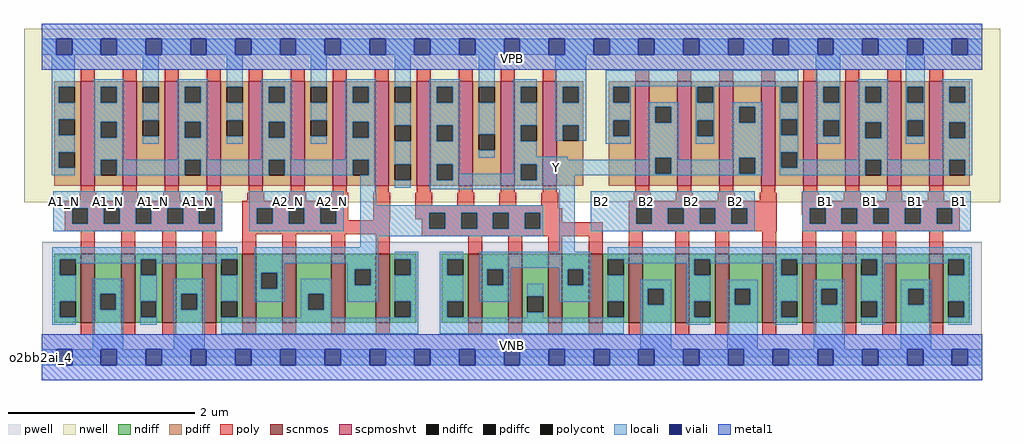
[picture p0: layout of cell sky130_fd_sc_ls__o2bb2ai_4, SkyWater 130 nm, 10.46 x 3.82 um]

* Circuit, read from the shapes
.subckt sky130_fd_sc_ls__o2bb2ai_4 A1_N A2_N B1 B2 VGND VNB VPB VPWR Y
XM1 VGND A1_N n1 VNB sky130_fd_pr__nfet_01v8 w=0.74 l=0.15 m=4
XM2 n2 A2_N n1 VNB sky130_fd_pr__nfet_01v8 w=0.74 l=0.15 m=4
XM3 Y n2 n3 VNB sky130_fd_pr__nfet_01v8 w=0.74 l=0.15 m=4
XM4 VGND B2 n3 VNB sky130_fd_pr__nfet_01v8 w=0.74 l=0.15 m=4
XM5 VGND B1 n3 VNB sky130_fd_pr__nfet_01v8 w=0.74 l=0.15 m=4
XM6 n2 A1_N VPWR VPB sky130_fd_pr__pfet_01v8_hvt w=1.12 l=0.15 m=4
XM7 n2 A2_N VPWR VPB sky130_fd_pr__pfet_01v8_hvt w=1.12 l=0.15 m=4
XM8 Y n2 VPWR VPB sky130_fd_pr__pfet_01v8_hvt w=1.12 l=0.15 m=4
XM9 Y B2 n4 VPB sky130_fd_pr__pfet_01v8_hvt w=1.12 l=0.15 m=4
XM10 VPWR B1 n4 VPB sky130_fd_pr__pfet_01v8_hvt w=1.12 l=0.15 m=4
.ends

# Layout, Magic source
magic
tech sky130A
magscale 1 2
<< nwell >>
rect -38 332 2054 704
<< pwell >>
rect 1 49 2015 248
rect 0 0 2016 49
<< scnmos >>
rect 84 74 114 222
rect 170 74 200 222
rect 258 74 288 222
rect 344 74 374 222
rect 430 74 460 222
rect 516 74 546 222
rect 621 74 651 222
rect 716 74 746 222
rect 914 74 944 222
rect 1000 74 1030 222
rect 1086 74 1116 222
rect 1172 74 1202 222
rect 1258 74 1288 222
rect 1358 74 1388 222
rect 1444 74 1474 222
rect 1544 74 1574 222
rect 1630 74 1660 222
rect 1716 74 1746 222
rect 1802 74 1832 222
rect 1902 74 1932 222
<< scpmoshvt >>
rect 84 368 114 592
rect 174 368 204 592
rect 264 368 294 592
rect 354 368 384 592
rect 444 368 474 592
rect 534 368 564 592
rect 624 368 654 592
rect 714 368 744 592
rect 804 368 834 592
rect 894 368 924 592
rect 984 368 1014 592
rect 1074 368 1104 592
rect 1272 368 1302 592
rect 1362 368 1392 592
rect 1452 368 1482 592
rect 1542 368 1572 592
rect 1632 368 1662 592
rect 1722 368 1752 592
rect 1812 368 1842 592
rect 1902 368 1932 592
<< ndiff >>
rect 27 210 84 222
rect 27 176 39 210
rect 73 176 84 210
rect 27 120 84 176
rect 27 86 39 120
rect 73 86 84 120
rect 27 74 84 86
rect 114 136 170 222
rect 114 102 125 136
rect 159 102 170 136
rect 114 74 170 102
rect 200 210 258 222
rect 200 176 212 210
rect 246 176 258 210
rect 200 120 258 176
rect 200 86 212 120
rect 246 86 258 120
rect 200 74 258 86
rect 288 136 344 222
rect 288 102 299 136
rect 333 102 344 136
rect 288 74 344 102
rect 374 210 430 222
rect 374 176 385 210
rect 419 176 430 210
rect 374 120 430 176
rect 374 86 385 120
rect 419 86 430 120
rect 374 74 430 86
rect 460 181 516 222
rect 460 147 471 181
rect 505 147 516 181
rect 460 74 516 147
rect 546 136 621 222
rect 546 102 571 136
rect 605 102 621 136
rect 546 74 621 102
rect 651 189 716 222
rect 651 155 671 189
rect 705 155 716 189
rect 651 74 716 155
rect 746 210 803 222
rect 746 176 757 210
rect 791 176 803 210
rect 746 120 803 176
rect 746 86 757 120
rect 791 86 803 120
rect 746 74 803 86
rect 857 210 914 222
rect 857 176 869 210
rect 903 176 914 210
rect 857 120 914 176
rect 857 86 869 120
rect 903 86 914 120
rect 857 74 914 86
rect 944 189 1000 222
rect 944 155 955 189
rect 989 155 1000 189
rect 944 74 1000 155
rect 1030 131 1086 222
rect 1030 97 1041 131
rect 1075 97 1086 131
rect 1030 74 1086 97
rect 1116 189 1172 222
rect 1116 155 1127 189
rect 1161 155 1172 189
rect 1116 74 1172 155
rect 1202 210 1258 222
rect 1202 176 1213 210
rect 1247 176 1258 210
rect 1202 120 1258 176
rect 1202 86 1213 120
rect 1247 86 1258 120
rect 1202 74 1258 86
rect 1288 147 1358 222
rect 1288 113 1299 147
rect 1333 113 1358 147
rect 1288 74 1358 113
rect 1388 210 1444 222
rect 1388 176 1399 210
rect 1433 176 1444 210
rect 1388 120 1444 176
rect 1388 86 1399 120
rect 1433 86 1444 120
rect 1388 74 1444 86
rect 1474 147 1544 222
rect 1474 113 1485 147
rect 1519 113 1544 147
rect 1474 74 1544 113
rect 1574 210 1630 222
rect 1574 176 1585 210
rect 1619 176 1630 210
rect 1574 120 1630 176
rect 1574 86 1585 120
rect 1619 86 1630 120
rect 1574 74 1630 86
rect 1660 147 1716 222
rect 1660 113 1671 147
rect 1705 113 1716 147
rect 1660 74 1716 113
rect 1746 210 1802 222
rect 1746 176 1757 210
rect 1791 176 1802 210
rect 1746 120 1802 176
rect 1746 86 1757 120
rect 1791 86 1802 120
rect 1746 74 1802 86
rect 1832 147 1902 222
rect 1832 113 1857 147
rect 1891 113 1902 147
rect 1832 74 1902 113
rect 1932 210 1989 222
rect 1932 176 1943 210
rect 1977 176 1989 210
rect 1932 120 1989 176
rect 1932 86 1943 120
rect 1977 86 1989 120
rect 1932 74 1989 86
<< pdiff >>
rect 27 580 84 592
rect 27 546 37 580
rect 71 546 84 580
rect 27 510 84 546
rect 27 476 37 510
rect 71 476 84 510
rect 27 440 84 476
rect 27 406 37 440
rect 71 406 84 440
rect 27 368 84 406
rect 114 580 174 592
rect 114 546 127 580
rect 161 546 174 580
rect 114 505 174 546
rect 114 471 127 505
rect 161 471 174 505
rect 114 424 174 471
rect 114 390 127 424
rect 161 390 174 424
rect 114 368 174 390
rect 204 580 264 592
rect 204 546 217 580
rect 251 546 264 580
rect 204 508 264 546
rect 204 474 217 508
rect 251 474 264 508
rect 204 368 264 474
rect 294 580 354 592
rect 294 546 307 580
rect 341 546 354 580
rect 294 505 354 546
rect 294 471 307 505
rect 341 471 354 505
rect 294 424 354 471
rect 294 390 307 424
rect 341 390 354 424
rect 294 368 354 390
rect 384 580 444 592
rect 384 546 397 580
rect 431 546 444 580
rect 384 508 444 546
rect 384 474 397 508
rect 431 474 444 508
rect 384 368 444 474
rect 474 580 534 592
rect 474 546 487 580
rect 521 546 534 580
rect 474 505 534 546
rect 474 471 487 505
rect 521 471 534 505
rect 474 424 534 471
rect 474 390 487 424
rect 521 390 534 424
rect 474 368 534 390
rect 564 580 624 592
rect 564 546 577 580
rect 611 546 624 580
rect 564 508 624 546
rect 564 474 577 508
rect 611 474 624 508
rect 564 368 624 474
rect 654 580 714 592
rect 654 546 667 580
rect 701 546 714 580
rect 654 505 714 546
rect 654 471 667 505
rect 701 471 714 505
rect 654 424 714 471
rect 654 390 667 424
rect 701 390 714 424
rect 654 368 714 390
rect 744 580 804 592
rect 744 546 757 580
rect 791 546 804 580
rect 744 497 804 546
rect 744 463 757 497
rect 791 463 804 497
rect 744 414 804 463
rect 744 380 757 414
rect 791 380 804 414
rect 744 368 804 380
rect 834 580 894 592
rect 834 546 847 580
rect 881 546 894 580
rect 834 497 894 546
rect 834 463 847 497
rect 881 463 894 497
rect 834 414 894 463
rect 834 380 847 414
rect 881 380 894 414
rect 834 368 894 380
rect 924 580 984 592
rect 924 546 937 580
rect 971 546 984 580
rect 924 478 984 546
rect 924 444 937 478
rect 971 444 984 478
rect 924 368 984 444
rect 1014 580 1074 592
rect 1014 546 1027 580
rect 1061 546 1074 580
rect 1014 497 1074 546
rect 1014 463 1027 497
rect 1061 463 1074 497
rect 1014 414 1074 463
rect 1014 380 1027 414
rect 1061 380 1074 414
rect 1014 368 1074 380
rect 1104 580 1161 592
rect 1104 546 1117 580
rect 1151 546 1161 580
rect 1104 498 1161 546
rect 1104 464 1117 498
rect 1151 464 1161 498
rect 1104 368 1161 464
rect 1215 580 1272 592
rect 1215 546 1225 580
rect 1259 546 1272 580
rect 1215 508 1272 546
rect 1215 474 1225 508
rect 1259 474 1272 508
rect 1215 368 1272 474
rect 1302 537 1362 592
rect 1302 503 1315 537
rect 1349 503 1362 537
rect 1302 428 1362 503
rect 1302 394 1315 428
rect 1349 394 1362 428
rect 1302 368 1362 394
rect 1392 580 1452 592
rect 1392 546 1405 580
rect 1439 546 1452 580
rect 1392 508 1452 546
rect 1392 474 1405 508
rect 1439 474 1452 508
rect 1392 368 1452 474
rect 1482 537 1542 592
rect 1482 503 1495 537
rect 1529 503 1542 537
rect 1482 428 1542 503
rect 1482 394 1495 428
rect 1529 394 1542 428
rect 1482 368 1542 394
rect 1572 580 1632 592
rect 1572 546 1585 580
rect 1619 546 1632 580
rect 1572 510 1632 546
rect 1572 476 1585 510
rect 1619 476 1632 510
rect 1572 440 1632 476
rect 1572 406 1585 440
rect 1619 406 1632 440
rect 1572 368 1632 406
rect 1662 580 1722 592
rect 1662 546 1675 580
rect 1709 546 1722 580
rect 1662 508 1722 546
rect 1662 474 1675 508
rect 1709 474 1722 508
rect 1662 368 1722 474
rect 1752 580 1812 592
rect 1752 546 1765 580
rect 1799 546 1812 580
rect 1752 504 1812 546
rect 1752 470 1765 504
rect 1799 470 1812 504
rect 1752 424 1812 470
rect 1752 390 1765 424
rect 1799 390 1812 424
rect 1752 368 1812 390
rect 1842 580 1902 592
rect 1842 546 1855 580
rect 1889 546 1902 580
rect 1842 508 1902 546
rect 1842 474 1855 508
rect 1889 474 1902 508
rect 1842 368 1902 474
rect 1932 580 1989 592
rect 1932 546 1945 580
rect 1979 546 1989 580
rect 1932 504 1989 546
rect 1932 470 1945 504
rect 1979 470 1989 504
rect 1932 424 1989 470
rect 1932 390 1945 424
rect 1979 390 1989 424
rect 1932 368 1989 390
<< ndiffc >>
rect 39 176 73 210
rect 39 86 73 120
rect 125 102 159 136
rect 212 176 246 210
rect 212 86 246 120
rect 299 102 333 136
rect 385 176 419 210
rect 385 86 419 120
rect 471 147 505 181
rect 571 102 605 136
rect 671 155 705 189
rect 757 176 791 210
rect 757 86 791 120
rect 869 176 903 210
rect 869 86 903 120
rect 955 155 989 189
rect 1041 97 1075 131
rect 1127 155 1161 189
rect 1213 176 1247 210
rect 1213 86 1247 120
rect 1299 113 1333 147
rect 1399 176 1433 210
rect 1399 86 1433 120
rect 1485 113 1519 147
rect 1585 176 1619 210
rect 1585 86 1619 120
rect 1671 113 1705 147
rect 1757 176 1791 210
rect 1757 86 1791 120
rect 1857 113 1891 147
rect 1943 176 1977 210
rect 1943 86 1977 120
<< pdiffc >>
rect 37 546 71 580
rect 37 476 71 510
rect 37 406 71 440
rect 127 546 161 580
rect 127 471 161 505
rect 127 390 161 424
rect 217 546 251 580
rect 217 474 251 508
rect 307 546 341 580
rect 307 471 341 505
rect 307 390 341 424
rect 397 546 431 580
rect 397 474 431 508
rect 487 546 521 580
rect 487 471 521 505
rect 487 390 521 424
rect 577 546 611 580
rect 577 474 611 508
rect 667 546 701 580
rect 667 471 701 505
rect 667 390 701 424
rect 757 546 791 580
rect 757 463 791 497
rect 757 380 791 414
rect 847 546 881 580
rect 847 463 881 497
rect 847 380 881 414
rect 937 546 971 580
rect 937 444 971 478
rect 1027 546 1061 580
rect 1027 463 1061 497
rect 1027 380 1061 414
rect 1117 546 1151 580
rect 1117 464 1151 498
rect 1225 546 1259 580
rect 1225 474 1259 508
rect 1315 503 1349 537
rect 1315 394 1349 428
rect 1405 546 1439 580
rect 1405 474 1439 508
rect 1495 503 1529 537
rect 1495 394 1529 428
rect 1585 546 1619 580
rect 1585 476 1619 510
rect 1585 406 1619 440
rect 1675 546 1709 580
rect 1675 474 1709 508
rect 1765 546 1799 580
rect 1765 470 1799 504
rect 1765 390 1799 424
rect 1855 546 1889 580
rect 1855 474 1889 508
rect 1945 546 1979 580
rect 1945 470 1979 504
rect 1945 390 1979 424
<< poly >>
rect 84 592 114 618
rect 174 592 204 618
rect 264 592 294 618
rect 354 592 384 618
rect 444 592 474 618
rect 534 592 564 618
rect 624 592 654 618
rect 714 592 744 618
rect 804 592 834 618
rect 894 592 924 618
rect 984 592 1014 618
rect 1074 592 1104 618
rect 1272 592 1302 618
rect 1362 592 1392 618
rect 1452 592 1482 618
rect 1542 592 1572 618
rect 1632 592 1662 618
rect 1722 592 1752 618
rect 1812 592 1842 618
rect 1902 592 1932 618
rect 84 353 114 368
rect 174 353 204 368
rect 264 353 294 368
rect 354 353 384 368
rect 444 353 474 368
rect 534 353 564 368
rect 624 353 654 368
rect 714 353 744 368
rect 804 353 834 368
rect 894 353 924 368
rect 984 353 1014 368
rect 1074 353 1104 368
rect 1272 353 1302 368
rect 1362 353 1392 368
rect 1452 353 1482 368
rect 1542 353 1572 368
rect 1632 353 1662 368
rect 1722 353 1752 368
rect 1812 353 1842 368
rect 1902 353 1932 368
rect 81 336 117 353
rect 171 336 207 353
rect 261 336 297 353
rect 351 336 387 353
rect 441 336 477 353
rect 531 336 567 353
rect 621 336 657 353
rect 49 320 387 336
rect 49 286 65 320
rect 99 286 133 320
rect 167 286 201 320
rect 235 286 269 320
rect 303 286 337 320
rect 371 286 387 320
rect 49 270 387 286
rect 430 320 657 336
rect 430 286 461 320
rect 495 286 529 320
rect 563 286 597 320
rect 631 294 657 320
rect 711 294 747 353
rect 801 326 837 353
rect 891 326 927 353
rect 981 326 1017 353
rect 1071 326 1107 353
rect 1269 336 1305 353
rect 1359 336 1395 353
rect 1449 336 1485 353
rect 1539 336 1575 353
rect 801 320 1107 326
rect 1258 320 1575 336
rect 801 310 1116 320
rect 801 296 831 310
rect 631 286 746 294
rect 84 222 114 270
rect 170 222 200 270
rect 258 222 288 270
rect 344 222 374 270
rect 430 264 746 286
rect 430 222 460 264
rect 516 222 546 264
rect 621 222 651 264
rect 716 222 746 264
rect 815 276 831 296
rect 865 276 899 310
rect 933 276 967 310
rect 1001 276 1035 310
rect 1069 290 1116 310
rect 1069 276 1202 290
rect 815 260 1202 276
rect 914 222 944 260
rect 1000 222 1030 260
rect 1086 222 1116 260
rect 1172 222 1202 260
rect 1258 286 1274 320
rect 1308 286 1342 320
rect 1376 286 1410 320
rect 1444 286 1478 320
rect 1512 286 1575 320
rect 1629 336 1665 353
rect 1719 336 1755 353
rect 1809 336 1845 353
rect 1899 336 1935 353
rect 1629 320 1968 336
rect 1629 306 1646 320
rect 1258 270 1575 286
rect 1630 286 1646 306
rect 1680 286 1714 320
rect 1748 286 1782 320
rect 1816 286 1850 320
rect 1884 286 1918 320
rect 1952 286 1968 320
rect 1630 270 1968 286
rect 1258 222 1288 270
rect 1358 222 1388 270
rect 1444 222 1474 270
rect 1544 222 1574 270
rect 1630 222 1660 270
rect 1716 222 1746 270
rect 1802 222 1832 270
rect 1902 222 1932 270
rect 84 48 114 74
rect 170 48 200 74
rect 258 48 288 74
rect 344 48 374 74
rect 430 48 460 74
rect 516 48 546 74
rect 621 48 651 74
rect 716 48 746 74
rect 914 48 944 74
rect 1000 48 1030 74
rect 1086 48 1116 74
rect 1172 48 1202 74
rect 1258 48 1288 74
rect 1358 48 1388 74
rect 1444 48 1474 74
rect 1544 48 1574 74
rect 1630 48 1660 74
rect 1716 48 1746 74
rect 1802 48 1832 74
rect 1902 48 1932 74
<< polycont >>
rect 65 286 99 320
rect 133 286 167 320
rect 201 286 235 320
rect 269 286 303 320
rect 337 286 371 320
rect 461 286 495 320
rect 529 286 563 320
rect 597 286 631 320
rect 831 276 865 310
rect 899 276 933 310
rect 967 276 1001 310
rect 1035 276 1069 310
rect 1274 286 1308 320
rect 1342 286 1376 320
rect 1410 286 1444 320
rect 1478 286 1512 320
rect 1646 286 1680 320
rect 1714 286 1748 320
rect 1782 286 1816 320
rect 1850 286 1884 320
rect 1918 286 1952 320
<< locali >>
rect 0 649 31 683
rect 65 649 127 683
rect 161 649 223 683
rect 257 649 319 683
rect 353 649 415 683
rect 449 649 511 683
rect 545 649 607 683
rect 641 649 703 683
rect 737 649 799 683
rect 833 649 895 683
rect 929 649 991 683
rect 1025 649 1087 683
rect 1121 649 1183 683
rect 1217 649 1279 683
rect 1313 649 1375 683
rect 1409 649 1471 683
rect 1505 649 1567 683
rect 1601 649 1663 683
rect 1697 649 1759 683
rect 1793 649 1855 683
rect 1889 649 1951 683
rect 1985 649 2016 683
rect 21 580 71 649
rect 21 546 37 580
rect 21 510 71 546
rect 21 476 37 510
rect 21 440 71 476
rect 21 406 37 440
rect 21 390 71 406
rect 111 580 177 596
rect 111 546 127 580
rect 161 546 177 580
rect 111 505 177 546
rect 111 471 127 505
rect 161 471 177 505
rect 111 424 177 471
rect 217 580 251 649
rect 217 508 251 546
rect 217 458 251 474
rect 291 580 357 596
rect 291 546 307 580
rect 341 546 357 580
rect 291 505 357 546
rect 291 471 307 505
rect 341 471 357 505
rect 291 424 357 471
rect 397 580 431 649
rect 397 508 431 546
rect 397 458 431 474
rect 471 580 537 596
rect 471 546 487 580
rect 521 546 537 580
rect 471 505 537 546
rect 471 471 487 505
rect 521 471 537 505
rect 471 424 537 471
rect 577 580 611 649
rect 577 508 611 546
rect 577 458 611 474
rect 651 580 717 596
rect 651 546 667 580
rect 701 546 717 580
rect 651 505 717 546
rect 651 471 667 505
rect 701 471 717 505
rect 651 424 717 471
rect 111 390 127 424
rect 161 390 307 424
rect 341 390 487 424
rect 521 390 667 424
rect 701 390 717 424
rect 25 320 387 356
rect 25 286 65 320
rect 99 286 133 320
rect 167 286 201 320
rect 235 286 269 320
rect 303 286 337 320
rect 371 286 387 320
rect 25 270 387 286
rect 445 320 647 356
rect 445 286 461 320
rect 495 286 529 320
rect 563 286 597 320
rect 631 286 647 320
rect 445 270 647 286
rect 683 326 717 390
rect 757 580 791 649
rect 757 497 791 546
rect 757 414 791 463
rect 757 364 791 380
rect 831 580 897 596
rect 831 546 847 580
rect 881 546 897 580
rect 831 497 897 546
rect 831 463 847 497
rect 881 463 897 497
rect 831 414 897 463
rect 937 580 971 649
rect 937 478 971 546
rect 937 428 971 444
rect 1011 580 1061 596
rect 1011 546 1027 580
rect 1011 497 1061 546
rect 1011 463 1027 497
rect 1101 580 1167 649
rect 1101 546 1117 580
rect 1151 546 1167 580
rect 1101 498 1167 546
rect 1101 464 1117 498
rect 1151 464 1167 498
rect 1209 581 1622 615
rect 1209 580 1262 581
rect 1209 546 1225 580
rect 1259 546 1262 580
rect 1402 580 1442 581
rect 1209 508 1262 546
rect 1209 474 1225 508
rect 1259 474 1262 508
rect 1011 430 1061 463
rect 1209 458 1262 474
rect 1299 537 1365 547
rect 1299 503 1315 537
rect 1349 503 1365 537
rect 831 380 847 414
rect 881 394 897 414
rect 1011 424 1127 430
rect 1299 428 1365 503
rect 1402 546 1405 580
rect 1439 546 1442 580
rect 1582 580 1622 581
rect 1402 508 1442 546
rect 1402 474 1405 508
rect 1439 474 1442 508
rect 1402 458 1442 474
rect 1479 537 1545 547
rect 1479 503 1495 537
rect 1529 503 1545 537
rect 1299 424 1315 428
rect 1011 414 1315 424
rect 1011 394 1027 414
rect 881 380 1027 394
rect 1061 394 1315 414
rect 1349 424 1365 428
rect 1479 428 1545 503
rect 1479 424 1495 428
rect 1349 394 1495 424
rect 1529 394 1545 428
rect 1061 390 1545 394
rect 1582 546 1585 580
rect 1619 546 1622 580
rect 1582 510 1622 546
rect 1582 476 1585 510
rect 1619 476 1622 510
rect 1582 440 1622 476
rect 1659 580 1712 649
rect 1659 546 1675 580
rect 1709 546 1712 580
rect 1659 508 1712 546
rect 1659 474 1675 508
rect 1709 474 1712 508
rect 1659 458 1712 474
rect 1749 580 1815 596
rect 1749 546 1765 580
rect 1799 546 1815 580
rect 1749 504 1815 546
rect 1749 470 1765 504
rect 1799 470 1815 504
rect 1582 406 1585 440
rect 1619 424 1622 440
rect 1749 424 1815 470
rect 1852 580 1893 649
rect 1852 546 1855 580
rect 1889 546 1893 580
rect 1852 508 1893 546
rect 1852 474 1855 508
rect 1889 474 1893 508
rect 1852 458 1893 474
rect 1929 580 1995 596
rect 1929 546 1945 580
rect 1979 546 1995 580
rect 1929 504 1995 546
rect 1929 470 1945 504
rect 1979 470 1995 504
rect 1929 424 1995 470
rect 1619 406 1765 424
rect 1582 390 1765 406
rect 1799 390 1945 424
rect 1979 390 1995 424
rect 1061 380 1143 390
rect 831 360 1143 380
rect 683 310 1075 326
rect 683 276 831 310
rect 865 276 899 310
rect 933 276 967 310
rect 1001 276 1035 310
rect 1069 276 1075 310
rect 683 260 1075 276
rect 683 236 721 260
rect 23 210 419 236
rect 23 176 39 210
rect 73 202 212 210
rect 23 120 73 176
rect 211 176 212 202
rect 246 202 385 210
rect 246 176 247 202
rect 23 86 39 120
rect 23 70 73 86
rect 109 136 175 168
rect 109 102 125 136
rect 159 102 175 136
rect 109 17 175 102
rect 211 120 247 176
rect 211 86 212 120
rect 246 86 247 120
rect 211 70 247 86
rect 283 136 349 168
rect 283 102 299 136
rect 333 102 349 136
rect 283 17 349 102
rect 385 120 419 176
rect 455 202 721 236
rect 1109 226 1143 360
rect 1177 320 1528 356
rect 1177 286 1274 320
rect 1308 286 1342 320
rect 1376 286 1410 320
rect 1444 286 1478 320
rect 1512 286 1528 320
rect 1177 270 1528 286
rect 1630 320 1991 356
rect 1630 286 1646 320
rect 1680 286 1714 320
rect 1748 286 1782 320
rect 1816 286 1850 320
rect 1884 286 1918 320
rect 1952 286 1991 320
rect 1630 270 1991 286
rect 455 181 521 202
rect 455 147 471 181
rect 505 147 521 181
rect 655 189 721 202
rect 455 119 521 147
rect 555 136 621 168
rect 385 85 419 86
rect 555 102 571 136
rect 605 102 621 136
rect 655 155 671 189
rect 705 155 721 189
rect 655 119 721 155
rect 757 210 807 226
rect 791 176 807 210
rect 757 120 807 176
rect 555 85 621 102
rect 791 86 807 120
rect 757 85 807 86
rect 385 51 807 85
rect 853 210 903 226
rect 853 176 869 210
rect 853 120 903 176
rect 853 86 869 120
rect 939 192 1177 226
rect 939 189 1005 192
rect 939 155 955 189
rect 989 155 1005 189
rect 1109 189 1177 192
rect 939 119 1005 155
rect 1041 131 1075 158
rect 853 85 903 86
rect 1109 155 1127 189
rect 1161 155 1177 189
rect 1109 119 1177 155
rect 1213 210 1993 236
rect 1247 202 1399 210
rect 1213 120 1247 176
rect 1383 176 1399 202
rect 1433 202 1585 210
rect 1041 85 1075 97
rect 1213 85 1247 86
rect 853 51 1247 85
rect 1283 147 1349 166
rect 1283 113 1299 147
rect 1333 113 1349 147
rect 1283 17 1349 113
rect 1383 120 1433 176
rect 1569 176 1585 202
rect 1619 202 1757 210
rect 1383 86 1399 120
rect 1383 70 1433 86
rect 1469 147 1535 166
rect 1469 113 1485 147
rect 1519 113 1535 147
rect 1469 17 1535 113
rect 1569 120 1619 176
rect 1791 202 1943 210
rect 1791 176 1807 202
rect 1569 86 1585 120
rect 1569 70 1619 86
rect 1655 147 1721 166
rect 1655 113 1671 147
rect 1705 113 1721 147
rect 1655 17 1721 113
rect 1757 120 1807 176
rect 1977 176 1993 210
rect 1791 86 1807 120
rect 1757 70 1807 86
rect 1841 147 1907 166
rect 1841 113 1857 147
rect 1891 113 1907 147
rect 1841 17 1907 113
rect 1943 120 1993 176
rect 1977 86 1993 120
rect 1943 70 1993 86
rect 0 -17 31 17
rect 65 -17 127 17
rect 161 -17 223 17
rect 257 -17 319 17
rect 353 -17 415 17
rect 449 -17 511 17
rect 545 -17 607 17
rect 641 -17 703 17
rect 737 -17 799 17
rect 833 -17 895 17
rect 929 -17 991 17
rect 1025 -17 1087 17
rect 1121 -17 1183 17
rect 1217 -17 1279 17
rect 1313 -17 1375 17
rect 1409 -17 1471 17
rect 1505 -17 1567 17
rect 1601 -17 1663 17
rect 1697 -17 1759 17
rect 1793 -17 1855 17
rect 1889 -17 1951 17
rect 1985 -17 2016 17
<< viali >>
rect 31 649 65 683
rect 127 649 161 683
rect 223 649 257 683
rect 319 649 353 683
rect 415 649 449 683
rect 511 649 545 683
rect 607 649 641 683
rect 703 649 737 683
rect 799 649 833 683
rect 895 649 929 683
rect 991 649 1025 683
rect 1087 649 1121 683
rect 1183 649 1217 683
rect 1279 649 1313 683
rect 1375 649 1409 683
rect 1471 649 1505 683
rect 1567 649 1601 683
rect 1663 649 1697 683
rect 1759 649 1793 683
rect 1855 649 1889 683
rect 1951 649 1985 683
rect 31 -17 65 17
rect 127 -17 161 17
rect 223 -17 257 17
rect 319 -17 353 17
rect 415 -17 449 17
rect 511 -17 545 17
rect 607 -17 641 17
rect 703 -17 737 17
rect 799 -17 833 17
rect 895 -17 929 17
rect 991 -17 1025 17
rect 1087 -17 1121 17
rect 1183 -17 1217 17
rect 1279 -17 1313 17
rect 1375 -17 1409 17
rect 1471 -17 1505 17
rect 1567 -17 1601 17
rect 1663 -17 1697 17
rect 1759 -17 1793 17
rect 1855 -17 1889 17
rect 1951 -17 1985 17
<< metal1 >>
rect 0 683 2016 715
rect 0 649 31 683
rect 65 649 127 683
rect 161 649 223 683
rect 257 649 319 683
rect 353 649 415 683
rect 449 649 511 683
rect 545 649 607 683
rect 641 649 703 683
rect 737 649 799 683
rect 833 649 895 683
rect 929 649 991 683
rect 1025 649 1087 683
rect 1121 649 1183 683
rect 1217 649 1279 683
rect 1313 649 1375 683
rect 1409 649 1471 683
rect 1505 649 1567 683
rect 1601 649 1663 683
rect 1697 649 1759 683
rect 1793 649 1855 683
rect 1889 649 1951 683
rect 1985 649 2016 683
rect 0 617 2016 649
rect 0 17 2016 49
rect 0 -17 31 17
rect 65 -17 127 17
rect 161 -17 223 17
rect 257 -17 319 17
rect 353 -17 415 17
rect 449 -17 511 17
rect 545 -17 607 17
rect 641 -17 703 17
rect 737 -17 799 17
rect 833 -17 895 17
rect 929 -17 991 17
rect 1025 -17 1087 17
rect 1121 -17 1183 17
rect 1217 -17 1279 17
rect 1313 -17 1375 17
rect 1409 -17 1471 17
rect 1505 -17 1567 17
rect 1601 -17 1663 17
rect 1697 -17 1759 17
rect 1793 -17 1855 17
rect 1889 -17 1951 17
rect 1985 -17 2016 17
rect 0 -49 2016 -17
<< labels >>
rlabel comment s 0 0 0 0 4 o2bb2ai_4
flabel pwell s 0 0 2016 49 0 FreeSans 200 0 0 0 VNB
port 6 nsew ground bidirectional
flabel nwell s 0 617 2016 666 0 FreeSans 200 0 0 0 VPB
port 7 nsew power bidirectional
flabel metal1 s 0 617 2016 666 0 FreeSans 340 0 0 0 VPWR
port 8 nsew power bidirectional abutment
flabel metal1 s 0 0 2016 49 0 FreeSans 340 0 0 0 VGND
port 5 nsew ground bidirectional abutment
flabel locali s 1087 390 1121 424 0 FreeSans 340 0 0 0 Y
port 9 nsew signal output
flabel locali s 511 316 545 350 0 FreeSans 340 0 0 0 A2_N
port 2 nsew signal input
flabel locali s 607 316 641 350 0 FreeSans 340 0 0 0 A2_N
port 2 nsew signal input
flabel locali s 31 316 65 350 0 FreeSans 340 0 0 0 A1_N
port 1 nsew signal input
flabel locali s 127 316 161 350 0 FreeSans 340 0 0 0 A1_N
port 1 nsew signal input
flabel locali s 223 316 257 350 0 FreeSans 340 0 0 0 A1_N
port 1 nsew signal input
flabel locali s 319 316 353 350 0 FreeSans 340 0 0 0 A1_N
port 1 nsew signal input
flabel locali s 1663 316 1697 350 0 FreeSans 340 0 0 0 B1
port 3 nsew signal input
flabel locali s 1759 316 1793 350 0 FreeSans 340 0 0 0 B1
port 3 nsew signal input
flabel locali s 1855 316 1889 350 0 FreeSans 340 0 0 0 B1
port 3 nsew signal input
flabel locali s 1951 316 1985 350 0 FreeSans 340 0 0 0 B1
port 3 nsew signal input
flabel locali s 1183 316 1217 350 0 FreeSans 340 0 0 0 B2
port 4 nsew signal input
flabel locali s 1279 316 1313 350 0 FreeSans 340 0 0 0 B2
port 4 nsew signal input
flabel locali s 1375 316 1409 350 0 FreeSans 340 0 0 0 B2
port 4 nsew signal input
flabel locali s 1471 316 1505 350 0 FreeSans 340 0 0 0 B2
port 4 nsew signal input
<< properties >>
string LEFsite unit
string LEFclass CORE
string FIXED_BBOX 0 0 2016 666
string GDS_FILE $PDKPATH/libs.ref/sky130_fd_sc_ls/gds/sky130_fd_sc_ls.gds
string LEFsymmetry X Y
string GDS_END 2783504
string GDS_START 2766338
<< end >>
